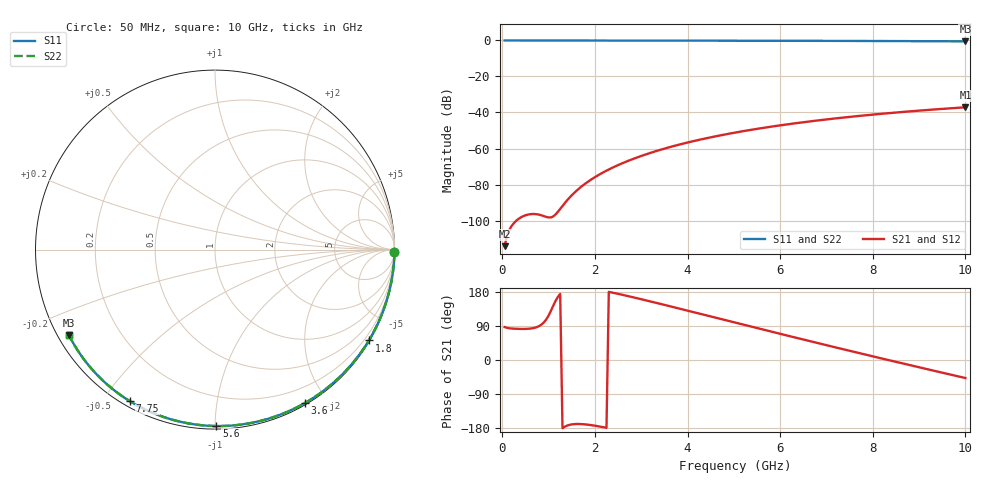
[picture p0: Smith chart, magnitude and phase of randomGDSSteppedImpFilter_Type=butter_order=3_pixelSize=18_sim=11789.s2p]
! freq	dB(S11)	phase(S11)	dB(S12)	phase(S12)
!  dB(S21)	phase(S21)	dB(S22)	phase(S22)
!S-par simulation data
#  GHz  S  DB  R 50
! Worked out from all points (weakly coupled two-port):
!   200 points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, 50 MHz to 10 GHz, reference 50 ohm
!   highest |S21| = -37.12 dB at 10 GHz (marker M1); lowest = -114.2 dB at 50 MHz (marker M2)
!   lowest |S11| = -0.5 dB at 10 GHz (marker M3), VSWR 34.32, Z = 1.57 - j13.6 ohm
!   |S11| at or under -10 dB: nowhere
!   |S22| runs from -0.5 to 0.0 dB; largest |S21 - S12| = 0
!   S11 on the Smith chart (normalised r, x): 50 MHz: open; 1.8 GHz: 0.03, -3.66; 3.6 GHz: 0.02, -1.75; 5.6 GHz: 0.02, -1.01; 7.75 GHz: 0.02, -0.59; 10 GHz: 0.03, -0.27
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0.05  -0.00 -0.9  -114.22 87.0  -114.22 87.0  -0.00 -0.9
0.45  -0.01 -7.8  -97.59 81.9  -97.59 81.9  -0.01 -7.8
0.9  -0.02 -15.4  -97.55 99.6  -97.55 99.6  -0.02 -15.4
1.3  -0.03 -22.2  -91.85 -180.0  -91.85 -180.0  -0.03 -22.2
1.75  -0.04 -29.7  -80.30 -169.5  -80.30 -169.5  -0.04 -29.7
1.8  -0.04 -30.6  -79.33 -170.1  -79.33 -170.1  -0.04 -30.6
1.95  -0.04 -33.0  -76.70 -172.4  -76.70 -172.4  -0.04 -33.0
2.1  -0.05 -35.5  -74.39 -175.4  -74.39 -175.4  -0.05 -35.5
2.3  -0.05 -38.8  -71.64 179.8  -71.64 179.8  -0.05 -38.8
2.5  -0.05 -42.1  -69.21 174.6  -69.21 174.6  -0.05 -42.1
2.9  -0.06 -48.5  -65.06 163.3  -65.06 163.3  -0.06 -48.5
3.4  -0.08 -56.5  -60.81 148.5  -60.81 148.5  -0.08 -56.5
3.6  -0.08 -59.6  -59.33 142.5  -59.33 142.5  -0.08 -59.6
4.3  -0.10 -70.4  -54.89 121.1  -54.89 121.1  -0.10 -70.4
5.05  -0.13 -81.5  -51.05 98.0  -51.05 98.0  -0.13 -81.5
5.6  -0.15 -89.5  -48.68 81.2  -48.68 81.2  -0.15 -89.5
6.15  -0.17 -97.3  -46.60 64.6  -46.60 64.6  -0.17 -97.3
6.7  -0.20 -105.0  -44.76 48.0  -44.76 48.0  -0.20 -105.0
7.75  -0.28 -119.3  -41.79 17.0  -41.79 17.0  -0.28 -119.3
8.35  -0.33 -127.4  -40.35 -0.5  -40.35 -0.5  -0.33 -127.4
9.2  -0.41 -138.7  -38.56 -24.9  -38.56 -24.9  -0.41 -138.7
10  -0.51 -149.5  -37.12 -47.6  -37.12 -47.6  -0.51 -149.5
